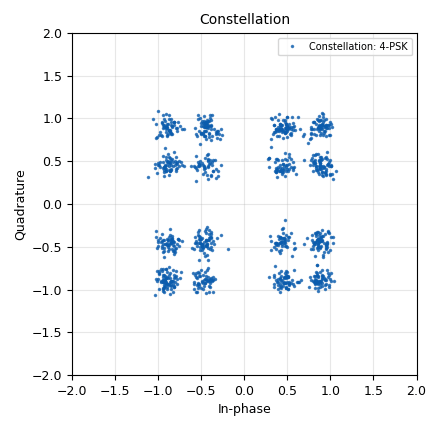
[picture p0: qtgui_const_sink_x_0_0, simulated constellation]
<?xml version='1.0' encoding='utf-8'?>
<?grc format='1' created='3.7.11'?>
<flow_graph>
<block>
<key>options</key>
<param><key>id</key><value>sic_mpsk_sim</value></param>
<param><key>author</key><value>Rafik Zitouni</value></param>
<param><key>description</key><value>Flow Graph</value></param>
<param><key>generate_options</key><value>qt_gui</value></param>
<param><key>title</key><value>sic_mpsk_sim</value></param>
</block>
<block>
<key>variable_qtgui_range</key>
<param><key>id</key><value>EbN0</value></param>
<param><key>value</key><value>10</value></param>
<param><key>_enabled</key><value>0</value></param>
<param><key>label</key><value>Eb / N0 (dB)</value></param>
<param><key>orient</key><value>Qt.Horizontal</value></param>
<param><key>start</key><value>-10</value></param>
<param><key>step</key><value>1</value></param>
<param><key>stop</key><value>200</value></param>
</block>
<block>
<key>variable</key>
<param><key>id</key><value>R</value></param>
<param><key>value</key><value>100e3</value></param>
</block>
<block>
<key>variable_qtgui_range</key>
<param><key>id</key><value>alpha</value></param>
<param><key>value</key><value>.1</value></param>
<param><key>label</key><value>Alpha (P1/P)</value></param>
<param><key>orient</key><value>Qt.Horizontal</value></param>
<param><key>start</key><value>0</value></param>
<param><key>step</key><value>.01</value></param>
<param><key>stop</key><value>1</value></param>
</block>
<block>
<key>variable</key>
<param><key>id</key><value>block</value></param>
<param><key>value</key><value>1000</value></param>
</block>
<block>
<key>variable</key>
<param><key>id</key><value>const</value></param>
<param><key>value</key><value>(digital.constellation_bpsk(), digital.constellation_qpsk(), digital.constellation_8psk())</value></param>
</block>
<block>
<key>variable</key>
<param><key>id</key><value>const_type</value></param>
<param><key>value</key><value>1</value></param>
</block>
<block>
<key>variable</key>
<param><key>id</key><value>noisevar</value></param>
<param><key>value</key><value>10**(-snr_db/10)</value></param>
</block>
<block>
<key>variable_qtgui_range</key>
<param><key>id</key><value>snr_db</value></param>
<param><key>value</key><value>10</value></param>
<param><key>label</key><value>P/sigma^2 (dB)</value></param>
<param><key>orient</key><value>Qt.Horizontal</value></param>
<param><key>start</key><value>0</value></param>
<param><key>step</key><value>1</value></param>
<param><key>stop</key><value>20</value></param>
</block>
<block>
<key>variable_qtgui_label</key>
<param><key>id</key><value>variable_qtgui_label_0</value></param>
<param><key>value</key><value>{0: 'BPSK', 1: 'QPSK', 2: '8-PSK'}[const_type] + " - Change const_type for different constellation types!"</value></param>
<param><key>label</key><value>Constellation Type</value></param>
<param><key>type</key><value>string</value></param>
</block>
<block>
<key>analog_noise_source_x</key>
<param><key>id</key><value>analog_noise_source_x_0</value></param>
<param><key>amp</key><value>noisevar</value></param>
<param><key>noise_type</key><value>analog.GR_GAUSSIAN</value></param>
<param><key>type</key><value>complex</value></param>
<param><key>seed</key><value>-42</value></param>
</block>
<block>
<key>analog_random_source_x</key>
<param><key>id</key><value>analog_random_source_x_0</value></param>
<param><key>max</key><value>const[const_type].arity()</value></param>
<param><key>min</key><value>0</value></param>
<param><key>num_samps</key><value>block</value></param>
<param><key>type</key><value>byte</value></param>
<param><key>repeat</key><value>True</value></param>
</block>
<block>
<key>analog_random_source_x</key>
<param><key>id</key><value>analog_random_source_x_1</value></param>
<param><key>max</key><value>const[const_type].arity()</value></param>
<param><key>min</key><value>0</value></param>
<param><key>num_samps</key><value>block</value></param>
<param><key>type</key><value>byte</value></param>
<param><key>repeat</key><value>True</value></param>
</block>
<block>
<key>blks2_error_rate</key>
<param><key>id</key><value>blks2_error_rate_0</value></param>
<param><key>bits_per_symbol</key><value>2</value></param>
<param><key>type</key><value>'BER'</value></param>
<param><key>win_size</key><value>block*100</value></param>
</block>
<block>
<key>blks2_error_rate</key>
<param><key>id</key><value>blks2_error_rate_0_0</value></param>
<param><key>bits_per_symbol</key><value>2</value></param>
<param><key>type</key><value>'BER'</value></param>
<param><key>win_size</key><value>block*100</value></param>
</block>
<block>
<key>blks2_error_rate</key>
<param><key>id</key><value>blks2_error_rate_0_0_0</value></param>
<param><key>bits_per_symbol</key><value>2</value></param>
<param><key>type</key><value>'BER'</value></param>
<param><key>win_size</key><value>block*100</value></param>
</block>
<block>
<key>blks2_error_rate</key>
<param><key>id</key><value>blks2_error_rate_0_0_0_0</value></param>
<param><key>bits_per_symbol</key><value>2</value></param>
<param><key>type</key><value>'BER'</value></param>
<param><key>win_size</key><value>block*100</value></param>
</block>
<block>
<key>blocks_add_xx</key>
<param><key>id</key><value>blocks_add_xx_0</value></param>
<param><key>type</key><value>complex</value></param>
<param><key>num_inputs</key><value>3</value></param>
</block>
<block>
<key>blocks_multiply_const_vxx</key>
<param><key>id</key><value>blocks_multiply_const_vxx_0</value></param>
<param><key>const</key><value>alpha**0.5</value></param>
<param><key>type</key><value>complex</value></param>
</block>
<block>
<key>blocks_multiply_const_vxx</key>
<param><key>id</key><value>blocks_multiply_const_vxx_1</value></param>
<param><key>const</key><value>(1-alpha)**0.5</value></param>
<param><key>type</key><value>complex</value></param>
</block>
<block>
<key>blocks_multiply_const_vxx</key>
<param><key>id</key><value>blocks_multiply_const_vxx_2</value></param>
<param><key>const</key><value>alpha**0.5</value></param>
<param><key>type</key><value>complex</value></param>
</block>
<block>
<key>blocks_multiply_const_vxx</key>
<param><key>id</key><value>blocks_multiply_const_vxx_2_0</value></param>
<param><key>const</key><value>(1-alpha)**0.5</value></param>
<param><key>type</key><value>complex</value></param>
</block>
<block>
<key>blocks_sub_xx</key>
<param><key>id</key><value>blocks_sub_xx_2</value></param>
<param><key>type</key><value>complex</value></param>
</block>
<block>
<key>blocks_sub_xx</key>
<param><key>id</key><value>blocks_sub_xx_2_0</value></param>
<param><key>type</key><value>complex</value></param>
</block>
<block>
<key>blocks_throttle</key>
<param><key>id</key><value>blocks_throttle_0_1</value></param>
<param><key>samples_per_second</key><value>R</value></param>
<param><key>type</key><value>byte</value></param>
</block>
<block>
<key>digital_chunks_to_symbols_xx</key>
<param><key>id</key><value>digital_chunks_to_symbols_xx</value></param>
<param><key>dimension</key><value>1</value></param>
<param><key>in_type</key><value>byte</value></param>
<param><key>out_type</key><value>complex</value></param>
<param><key>symbol_table</key><value>const[const_type].points()</value></param>
</block>
<block>
<key>digital_chunks_to_symbols_xx</key>
<param><key>id</key><value>digital_chunks_to_symbols_xx_1</value></param>
<param><key>dimension</key><value>1</value></param>
<param><key>in_type</key><value>byte</value></param>
<param><key>out_type</key><value>complex</value></param>
<param><key>symbol_table</key><value>const[const_type].points()</value></param>
</block>
<block>
<key>digital_chunks_to_symbols_xx</key>
<param><key>id</key><value>digital_chunks_to_symbols_xx_1_0</value></param>
<param><key>dimension</key><value>1</value></param>
<param><key>in_type</key><value>byte</value></param>
<param><key>out_type</key><value>complex</value></param>
<param><key>symbol_table</key><value>const[const_type].points()</value></param>
</block>
<block>
<key>digital_chunks_to_symbols_xx</key>
<param><key>id</key><value>digital_chunks_to_symbols_xx_2</value></param>
<param><key>dimension</key><value>1</value></param>
<param><key>in_type</key><value>byte</value></param>
<param><key>out_type</key><value>complex</value></param>
<param><key>symbol_table</key><value>const[const_type].points()</value></param>
</block>
<block>
<key>digital_constellation_decoder_cb</key>
<param><key>id</key><value>digital_constellation_decoder_cb_0</value></param>
<param><key>constellation</key><value>const[const_type].base()</value></param>
</block>
<block>
<key>digital_constellation_decoder_cb</key>
<param><key>id</key><value>digital_constellation_decoder_cb_0_0</value></param>
<param><key>constellation</key><value>const[const_type].base()</value></param>
</block>
<block>
<key>digital_constellation_decoder_cb</key>
<param><key>id</key><value>digital_constellation_decoder_cb_0_0_0</value></param>
<param><key>constellation</key><value>const[const_type].base()</value></param>
</block>
<block>
<key>digital_constellation_decoder_cb</key>
<param><key>id</key><value>digital_constellation_decoder_cb_0_0_0_0</value></param>
<param><key>constellation</key><value>const[const_type].base()</value></param>
</block>
<block>
<key>import</key>
<param><key>id</key><value>import</value></param>
<param><key>import</key><value>import math</value></param>
</block>
<block>
<key>qtgui_const_sink_x</key>
<param><key>id</key><value>qtgui_const_sink_x_0_0</value></param>
<param><key>alpha1</key><value>0.6</value></param>
<param><key>label1</key><value>"Constellation: "+str(const[const_type].arity()) + "-PSK"</value></param>
<param><key>name</key><value>"Constellation"</value></param>
<param><key>size</key><value>1024</value></param>
<param><key>type</key><value>complex</value></param>
</block>
<block>
<key>qtgui_number_sink</key>
<param><key>id</key><value>qtgui_number_sink_0</value></param>
<param><key>gui_hint</key><value>0,0,1,1</value></param>
<param><key>graph_type</key><value>qtgui.NUM_GRAPH_HORIZ</value></param>
<param><key>type</key><value>float</value></param>
<param><key>label1</key><value>BER</value></param>
<param><key>min</key><value>0</value></param>
<param><key>name</key><value>"BER1 (Without Cancellation)"</value></param>
</block>
<block>
<key>qtgui_number_sink</key>
<param><key>id</key><value>qtgui_number_sink_0_0</value></param>
<param><key>gui_hint</key><value>0,1,1,1</value></param>
<param><key>graph_type</key><value>qtgui.NUM_GRAPH_HORIZ</value></param>
<param><key>type</key><value>float</value></param>
<param><key>label1</key><value>BER</value></param>
<param><key>min</key><value>0</value></param>
<param><key>name</key><value>"BER 2 (Without Cancellation)"</value></param>
</block>
<block>
<key>qtgui_number_sink</key>
<param><key>id</key><value>qtgui_number_sink_0_0_0</value></param>
<param><key>gui_hint</key><value>1,1,1,1</value></param>
<param><key>graph_type</key><value>qtgui.NUM_GRAPH_HORIZ</value></param>
<param><key>type</key><value>float</value></param>
<param><key>label1</key><value>BER</value></param>
<param><key>min</key><value>0</value></param>
<param><key>name</key><value>"BER 2 (after cancelling user 1)"</value></param>
</block>
<block>
<key>qtgui_number_sink</key>
<param><key>id</key><value>qtgui_number_sink_0_0_0_0</value></param>
<param><key>gui_hint</key><value>1,0,1,1</value></param>
<param><key>graph_type</key><value>qtgui.NUM_GRAPH_HORIZ</value></param>
<param><key>type</key><value>float</value></param>
<param><key>label1</key><value>BER</value></param>
<param><key>min</key><value>0</value></param>
<param><key>name</key><value>BER 1 (after cancelling user 2)</value></param>
</block>
<block>
<key>virtual_sink</key>
<param><key>id</key><value>virtual_sink_0</value></param>
<param><key>stream_id</key><value>user1</value></param>
</block>
<block>
<key>virtual_sink</key>
<param><key>id</key><value>virtual_sink_0_0</value></param>
<param><key>stream_id</key><value>user2</value></param>
</block>
<block>
<key>virtual_sink</key>
<param><key>id</key><value>virtual_sink_0_2</value></param>
<param><key>stream_id</key><value>user1_est</value></param>
</block>
<block>
<key>virtual_sink</key>
<param><key>id</key><value>virtual_sink_0_2_0</value></param>
<param><key>stream_id</key><value>user2_est</value></param>
</block>
<block>
<key>virtual_sink</key>
<param><key>id</key><value>virtual_sink_1</value></param>
<param><key>stream_id</key><value>sensing</value></param>
</block>
<block>
<key>virtual_source</key>
<param><key>id</key><value>virtual_source_0</value></param>
<param><key>stream_id</key><value>user1</value></param>
</block>
<block>
<key>virtual_source</key>
<param><key>id</key><value>virtual_source_0_0</value></param>
<param><key>stream_id</key><value>user1</value></param>
</block>
<block>
<key>virtual_source</key>
<param><key>id</key><value>virtual_source_0_1</value></param>
<param><key>stream_id</key><value>sensing</value></param>
</block>
<block>
<key>virtual_source</key>
<param><key>id</key><value>virtual_source_0_1_0</value></param>
<param><key>stream_id</key><value>sensing</value></param>
</block>
<block>
<key>virtual_source</key>
<param><key>id</key><value>virtual_source_0_1_1_0</value></param>
<param><key>stream_id</key><value>sensing</value></param>
</block>
<block>
<key>virtual_source</key>
<param><key>id</key><value>virtual_source_0_1_2</value></param>
<param><key>stream_id</key><value>sensing</value></param>
</block>
<block>
<key>virtual_source</key>
<param><key>id</key><value>virtual_source_0_2</value></param>
<param><key>stream_id</key><value>user1_est</value></param>
</block>
<block>
<key>virtual_source</key>
<param><key>id</key><value>virtual_source_0_2_0</value></param>
<param><key>stream_id</key><value>user2_est</value></param>
</block>
<block>
<key>virtual_source</key>
<param><key>id</key><value>virtual_source_0_3</value></param>
<param><key>stream_id</key><value>user2</value></param>
</block>
<block>
<key>virtual_source</key>
<param><key>id</key><value>virtual_source_0_4</value></param>
<param><key>stream_id</key><value>user2</value></param>
</block>
<connection><source_block_id>analog_noise_source_x_0</source_block_id><sink_block_id>blocks_add_xx_0</sink_block_id><source_key>0</source_key><sink_key>2</sink_key></connection>
<connection><source_block_id>analog_random_source_x_0</source_block_id><sink_block_id>blocks_throttle_0_1</sink_block_id><source_key>0</source_key><sink_key>0</sink_key></connection>
<connection><source_block_id>analog_random_source_x_0</source_block_id><sink_block_id>virtual_sink_0</sink_block_id><source_key>0</source_key><sink_key>0</sink_key></connection>
<connection><source_block_id>analog_random_source_x_1</source_block_id><sink_block_id>digital_chunks_to_symbols_xx_2</sink_block_id><source_key>0</source_key><sink_key>0</sink_key></connection>
<connection><source_block_id>analog_random_source_x_1</source_block_id><sink_block_id>virtual_sink_0_0</sink_block_id><source_key>0</source_key><sink_key>0</sink_key></connection>
<connection><source_block_id>blks2_error_rate_0</source_block_id><sink_block_id>qtgui_number_sink_0</sink_block_id><source_key>0</source_key><sink_key>0</sink_key></connection>
<connection><source_block_id>blks2_error_rate_0_0</source_block_id><sink_block_id>qtgui_number_sink_0_0</sink_block_id><source_key>0</source_key><sink_key>0</sink_key></connection>
<connection><source_block_id>blks2_error_rate_0_0_0</source_block_id><sink_block_id>qtgui_number_sink_0_0_0</sink_block_id><source_key>0</source_key><sink_key>0</sink_key></connection>
<connection><source_block_id>blks2_error_rate_0_0_0_0</source_block_id><sink_block_id>qtgui_number_sink_0_0_0_0</sink_block_id><source_key>0</source_key><sink_key>0</sink_key></connection>
<connection><source_block_id>blocks_add_xx_0</source_block_id><sink_block_id>qtgui_const_sink_x_0_0</sink_block_id><source_key>0</source_key><sink_key>0</sink_key></connection>
<connection><source_block_id>blocks_add_xx_0</source_block_id><sink_block_id>virtual_sink_1</sink_block_id><source_key>0</source_key><sink_key>0</sink_key></connection>
<connection><source_block_id>blocks_multiply_const_vxx_0</source_block_id><sink_block_id>blocks_add_xx_0</sink_block_id><source_key>0</source_key><sink_key>0</sink_key></connection>
<connection><source_block_id>blocks_multiply_const_vxx_1</source_block_id><sink_block_id>blocks_add_xx_0</sink_block_id><source_key>0</source_key><sink_key>1</sink_key></connection>
<connection><source_block_id>blocks_multiply_const_vxx_2</source_block_id><sink_block_id>blocks_sub_xx_2</sink_block_id><source_key>0</source_key><sink_key>1</sink_key></connection>
<connection><source_block_id>blocks_multiply_const_vxx_2_0</source_block_id><sink_block_id>blocks_sub_xx_2_0</sink_block_id><source_key>0</source_key><sink_key>1</sink_key></connection>
<connection><source_block_id>blocks_sub_xx_2</source_block_id><sink_block_id>digital_constellation_decoder_cb_0_0_0</sink_block_id><source_key>0</source_key><sink_key>0</sink_key></connection>
<connection><source_block_id>blocks_sub_xx_2_0</source_block_id><sink_block_id>digital_constellation_decoder_cb_0_0_0_0</sink_block_id><source_key>0</source_key><sink_key>0</sink_key></connection>
<connection><source_block_id>blocks_throttle_0_1</source_block_id><sink_block_id>digital_chunks_to_symbols_xx</sink_block_id><source_key>0</source_key><sink_key>0</sink_key></connection>
<connection><source_block_id>digital_chunks_to_symbols_xx</source_block_id><sink_block_id>blocks_multiply_const_vxx_0</sink_block_id><source_key>0</source_key><sink_key>0</sink_key></connection>
<connection><source_block_id>digital_chunks_to_symbols_xx_1</source_block_id><sink_block_id>blocks_multiply_const_vxx_2</sink_block_id><source_key>0</source_key><sink_key>0</sink_key></connection>
<connection><source_block_id>digital_chunks_to_symbols_xx_1_0</source_block_id><sink_block_id>blocks_multiply_const_vxx_2_0</sink_block_id><source_key>0</source_key><sink_key>0</sink_key></connection>
<connection><source_block_id>digital_chunks_to_symbols_xx_2</source_block_id><sink_block_id>blocks_multiply_const_vxx_1</sink_block_id><source_key>0</source_key><sink_key>0</sink_key></connection>
<connection><source_block_id>digital_constellation_decoder_cb_0</source_block_id><sink_block_id>blks2_error_rate_0</sink_block_id><source_key>0</source_key><sink_key>1</sink_key></connection>
<connection><source_block_id>digital_constellation_decoder_cb_0</source_block_id><sink_block_id>virtual_sink_0_2</sink_block_id><source_key>0</source_key><sink_key>0</sink_key></connection>
<connection><source_block_id>digital_constellation_decoder_cb_0_0</source_block_id><sink_block_id>blks2_error_rate_0_0</sink_block_id><source_key>0</source_key><sink_key>1</sink_key></connection>
<connection><source_block_id>digital_constellation_decoder_cb_0_0</source_block_id><sink_block_id>virtual_sink_0_2_0</sink_block_id><source_key>0</source_key><sink_key>0</sink_key></connection>
<connection><source_block_id>digital_constellation_decoder_cb_0_0_0</source_block_id><sink_block_id>blks2_error_rate_0_0_0</sink_block_id><source_key>0</source_key><sink_key>1</sink_key></connection>
<connection><source_block_id>digital_constellation_decoder_cb_0_0_0_0</source_block_id><sink_block_id>blks2_error_rate_0_0_0_0</sink_block_id><source_key>0</source_key><sink_key>1</sink_key></connection>
<connection><source_block_id>virtual_source_0</source_block_id><sink_block_id>blks2_error_rate_0</sink_block_id><source_key>0</source_key><sink_key>0</sink_key></connection>
<connection><source_block_id>virtual_source_0_0</source_block_id><sink_block_id>blks2_error_rate_0_0_0_0</sink_block_id><source_key>0</source_key><sink_key>0</sink_key></connection>
<connection><source_block_id>virtual_source_0_1</source_block_id><sink_block_id>digital_constellation_decoder_cb_0</sink_block_id><source_key>0</source_key><sink_key>0</sink_key></connection>
<connection><source_block_id>virtual_source_0_1_0</source_block_id><sink_block_id>digital_constellation_decoder_cb_0_0</sink_block_id><source_key>0</source_key><sink_key>0</sink_key></connection>
<connection><source_block_id>virtual_source_0_1_1_0</source_block_id><sink_block_id>blocks_sub_xx_2</sink_block_id><source_key>0</source_key><sink_key>0</sink_key></connection>
<connection><source_block_id>virtual_source_0_1_2</source_block_id><sink_block_id>blocks_sub_xx_2_0</sink_block_id><source_key>0</source_key><sink_key>0</sink_key></connection>
<connection><source_block_id>virtual_source_0_2</source_block_id><sink_block_id>digital_chunks_to_symbols_xx_1</sink_block_id><source_key>0</source_key><sink_key>0</sink_key></connection>
<connection><source_block_id>virtual_source_0_2_0</source_block_id><sink_block_id>digital_chunks_to_symbols_xx_1_0</sink_block_id><source_key>0</source_key><sink_key>0</sink_key></connection>
<connection><source_block_id>virtual_source_0_3</source_block_id><sink_block_id>blks2_error_rate_0_0</sink_block_id><source_key>0</source_key><sink_key>0</sink_key></connection>
<connection><source_block_id>virtual_source_0_4</source_block_id><sink_block_id>blks2_error_rate_0_0_0</sink_block_id><source_key>0</source_key><sink_key>0</sink_key></connection>
</flow_graph>
